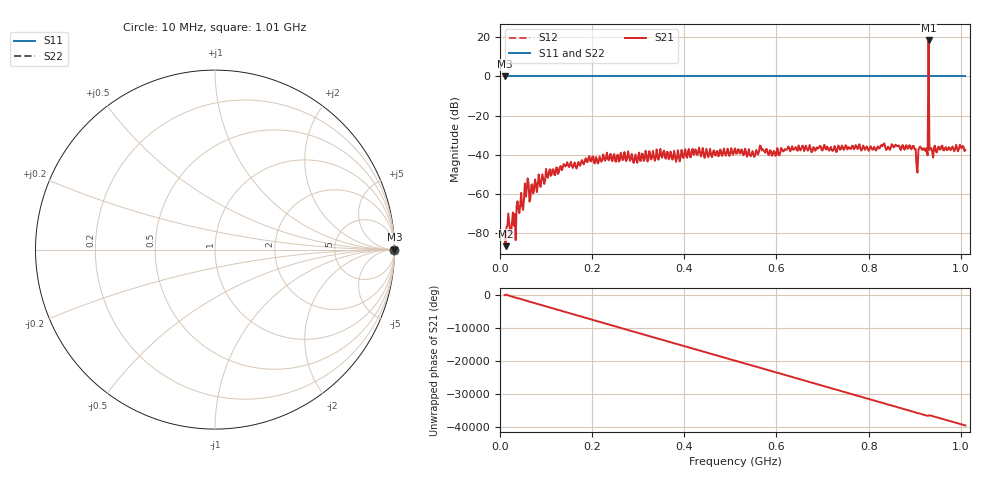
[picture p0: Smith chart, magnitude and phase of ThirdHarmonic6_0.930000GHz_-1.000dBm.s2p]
! 8/16/2025 6:19:44 AM
! C:\ANRITSUVNA\TEMP\TEMP.S2P
! CHANNEL.1
! TR.MEASUREMENT
! RAW.DATA
! RF.CORRECTION.OFF
! AVERAGING.OFF
! IF.BANDWIDTH: 5KHZ
! SWEEPTYPE:  FREQ.SWEEP(Linear)
! Reference Plane Port Info
! PORT:  PORT1  PORT2
! DISTANCE:  0  m  0  m
! TIME:  0  s  0  s
! PHASE.OFFSET:  0  deg.  0  deg.
! LOSS:  0  dB  0  dB
! REF.LOSS:  0  dB  0  dB
! REF.FREQ:  0  Hz  0  Hz
! Power Info
! POWER:  -20  dBm  -20  dBm
! EFF.POWER:  -20  dBm  -20  dBm
! SOURCE.ATTEN:  0  dB  0  dB
! TEST.ATTEN:  0  dB  0  dB
# GHZ S RI R 50.0
! FREQ.GHZ  S11RE  S11IM  S21RE  S21IM  S12RE  S12IM  S22RE  S22IM
!; PortSelection: Port_12
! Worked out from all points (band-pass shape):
!   501 points, 10 MHz to 1.01 GHz, reference 50 ohm
!   highest |S21| = 18.32 dB at 930 MHz (marker M1); lowest = -86.6 dB at 12 MHz (marker M2)
!   |S21| within 3 dB of the highest: 929.8976 MHz to 930.1075 MHz (210 kHz wide, 0.0226 % of centre)
!   lowest |S11| = 0.0 dB at 10 MHz (marker M3)
!   |S11| at or under -10 dB: nowhere
!   |S22| runs from 0.0 to 0.0 dB; largest |S21 - S12| = 7.3
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0.01  1 0  2.54e-05 -0.000107  1 0  1 0
0.012  1 0  4.14e-05 2.2e-05  1 0  1 0
0.03  1 0  -2.71e-05 0.000154  1 0  1 0
0.042  1 0  0.000322 -5.57e-05  1 0  1 0
0.052  1 0  0.00042 -0.000556  1 0  1 0
0.058  1 0  0.00127 0.000363  1 0  1 0
0.068  1 0  0.0017 -0.000231  1 0  1 0
0.104  1 0  0.00184 -0.00185  1 0  1 0
0.178  1 0  -0.00697 -0.00233  1 0  1 0
0.344  1 0  0.00748 5.99e-05  1 0  1 0
0.51  1 0  -0.0146 0.001  1 0  1 0
0.678  1 0  0.00378 -0.0117  1 0  1 0
0.844  1 0  -0.000225 0.015  1 0  1 0
0.894  1 0  -0.00534 -0.0133  1 0  1 0
0.904  1 0  -0.00457 0.00244  1 0  1 0
0.912  1 0  -0.00758 -0.0144  1 0  1 0
0.924  1 0  -0.00601 0.0107  1 0  1 0
0.926  1 0  0.00956 0.011  1 0  1 0
0.93  1 0  7.939 2.211  1 0  1 0
0.934  1 0  0.00272 0.014  1 0  1 0
0.936  1 0  0.0147 -0.00208  1 0  1 0
1.01  1 0  0.00302 -0.0129  1 0  1 0
